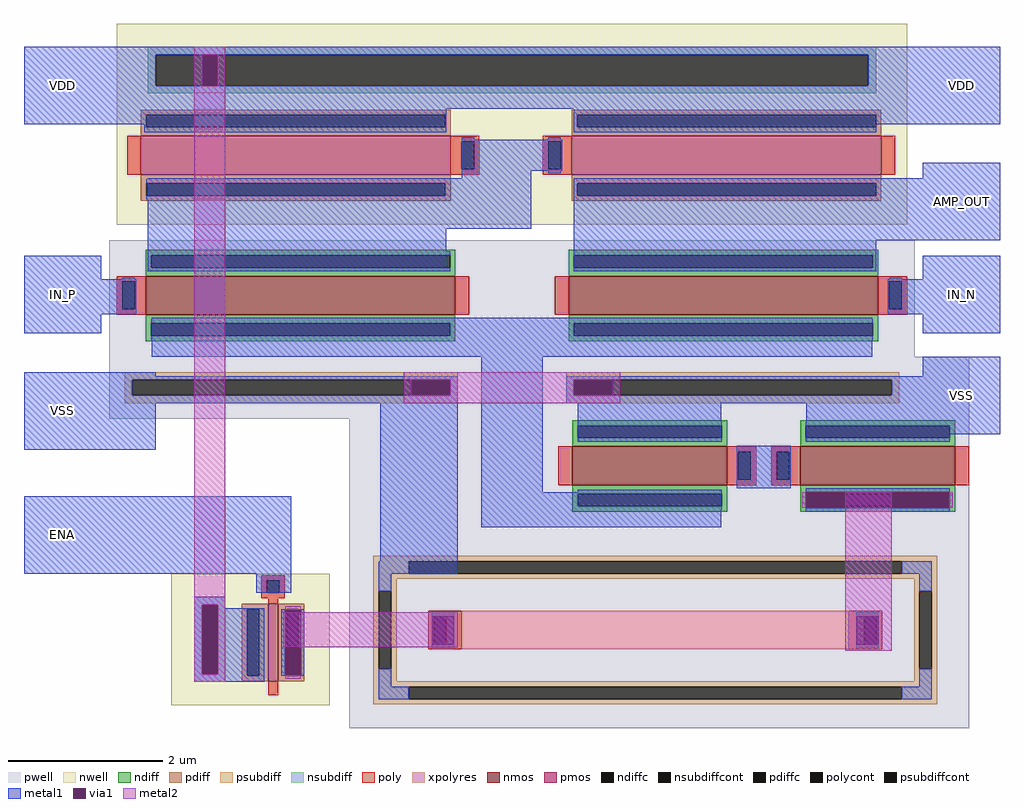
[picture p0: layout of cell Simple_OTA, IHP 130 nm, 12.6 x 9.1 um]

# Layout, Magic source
magic
tech ihp-sg13g2
magscale 1 2
<< nwell >>
rect 1900 -1300 3940 -780
rect 2040 -2540 2450 -2200
<< pwell >>
rect 1880 -1640 3960 -1340
rect 1880 -1800 4100 -1640
rect 2500 -2600 4100 -1800
<< psubdiff >>
rect 1920 -1700 2780 -1680
rect 1920 -1740 1940 -1700
rect 2760 -1740 2780 -1700
rect 1920 -1760 2780 -1740
rect 3060 -1700 3920 -1680
rect 3060 -1740 3080 -1700
rect 3900 -1740 3920 -1700
rect 3060 -1760 3920 -1740
<< nsubdiff >>
rect 1980 -860 3860 -840
rect 1980 -940 2000 -860
rect 3840 -940 3860 -860
rect 1980 -960 3860 -940
rect 2100 -2280 2180 -2260
rect 2100 -2460 2120 -2280
rect 2160 -2460 2180 -2280
rect 2100 -2480 2180 -2460
<< psubdiffcont >>
rect 1940 -1740 2760 -1700
rect 3080 -1740 3900 -1700
<< nsubdiffcont >>
rect 2000 -940 3840 -860
rect 2120 -2460 2160 -2280
<< metal1 >>
rect 1660 -860 4180 -840
rect 1660 -940 2000 -860
rect 3840 -940 4180 -860
rect 1660 -1000 4180 -940
rect 1660 -1040 2750 -1000
rect 1970 -1060 2750 -1040
rect 3080 -1040 4180 -1000
rect 3080 -1060 3860 -1040
rect 2790 -1160 3050 -1080
rect 2790 -1180 2970 -1160
rect 3980 -1180 4180 -1140
rect 1980 -1310 2970 -1180
rect 1660 -1440 1860 -1380
rect 1980 -1420 2750 -1310
rect 3080 -1340 4180 -1180
rect 3080 -1420 3860 -1340
rect 3980 -1440 4180 -1380
rect 1660 -1530 1950 -1440
rect 3890 -1530 4180 -1440
rect 1660 -1580 1860 -1530
rect 1990 -1640 3850 -1540
rect 3980 -1580 4180 -1530
rect 1660 -1690 2000 -1680
rect 1660 -1700 2780 -1690
rect 1660 -1740 1940 -1700
rect 2760 -1740 2780 -1700
rect 1660 -1760 2780 -1740
rect 1660 -1880 2000 -1760
rect 1660 -2200 2350 -2000
rect 2580 -2200 2780 -1760
rect 2840 -1990 3000 -1640
rect 3980 -1690 4180 -1640
rect 3060 -1700 4180 -1690
rect 3060 -1740 3080 -1700
rect 3900 -1740 4180 -1700
rect 3060 -1760 4180 -1740
rect 3090 -1860 3460 -1760
rect 3680 -1840 4180 -1760
rect 3680 -1860 4050 -1840
rect 3500 -1980 3640 -1870
rect 2840 -2080 3460 -1990
rect 2260 -2250 2350 -2200
rect 2100 -2280 2180 -2260
rect 2100 -2460 2120 -2280
rect 2160 -2290 2180 -2280
rect 2160 -2460 2280 -2290
rect 2100 -2480 2280 -2460
<< via1 >>
rect 2120 -940 2160 -860
rect 2660 -1740 2760 -1700
rect 3080 -1740 3180 -1700
rect 2120 -2460 2160 -2280
<< metal2 >>
rect 2100 -860 2180 -840
rect 2100 -940 2120 -860
rect 2160 -940 2180 -860
rect 2100 -2280 2180 -940
rect 2640 -1700 3200 -1680
rect 2640 -1740 2660 -1700
rect 2760 -1740 3080 -1700
rect 3180 -1740 3200 -1700
rect 2640 -1760 3200 -1740
rect 2100 -2460 2120 -2280
rect 2160 -2460 2180 -2280
rect 2330 -2390 2780 -2300
rect 3780 -2400 3900 -1990
rect 2100 -2480 2180 -2460
use sg13_lv_pmos_LRF4C6  sg13_lv_pmos_LRF4C6_0
transform -1 0 2303 0 1 -2359
box -143 -181 143 155
use sg13_lv_nmos_LX2DRS  XM1
transform 0 -1 3845 1 0 -1922
box -118 -255 118 255
use sg13_lv_nmos_23L7VH  XM_IN_N
transform 0 1 3485 -1 0 -1482
box -118 -455 118 455
use sg13_lv_nmos_2HY6VH  XM_IN_P
transform 0 -1 2355 1 0 -1482
box -118 -455 118 455
use sg13_lv_pmos_ZHY45N  XM_LOAD1
transform 0 1 2381 -1 0 -1120
box -180 -481 180 455
use sg13_lv_pmos_Z3L55N  XM_LOAD2
transform 0 -1 3455 1 0 -1120
box -180 -481 180 455
use sg13_lv_nmos_2KL7VH  XM_TAIL1
transform 0 1 3295 -1 0 -1922
box -118 -255 118 255
use rhigh_ASTKTU  XR2
transform 0 -1 3290 1 0 -2346
box -254 -790 254 790
<< labels >>
flabel metal1 3980 -1340 4180 -1140 0 FreeSans 256 0 0 0 AMP_OUT
port 0 nsew
flabel metal1 3980 -1580 4180 -1380 0 FreeSans 256 0 0 0 IN_N
port 3 nsew
flabel metal1 1660 -1580 1860 -1380 0 FreeSans 256 0 0 0 IN_P
port 1 nsew
flabel metal1 1660 -2200 1860 -2000 0 FreeSans 256 0 0 0 ENA
port 5 nsew
flabel metal1 1660 -1040 1860 -840 0 FreeSans 256 0 0 0 VDD
port 2 nsew
flabel metal1 3980 -1040 4180 -840 0 FreeSans 256 0 0 0 VDD
port 2 nsew
flabel metal1 1660 -1880 1860 -1680 0 FreeSans 256 0 0 0 VSS
port 4 nsew
flabel metal1 3980 -1840 4180 -1640 0 FreeSans 256 0 0 0 VSS
port 4 nsew
<< end >>

# cell sg13_lv_pmos_LRF4C6: kit device sg13_lv_pmos, w 1 l 0.13 m 1 nf 1 diffcov 100 polycov 100 guard 0 glc 1 grc 1 gtc 1 gbc 1 tbcov 100 rlcov 100 topc 1 botc 0 poverlap 0 doverlap 1 lmin 0.13 wmin 0.15 class mosfet compatible {sg13_lv_pmos sg13_hv_pmos} full_metal 1 conn_gates 0 gate_ring 0 ccols 1 viasrc 0 viadrn 100 viagate 0 viagb 0 viagr 0 viagl 0 viagt 0 doports 1

# cell sg13_lv_nmos_LX2DRS: kit device sg13_lv_nmos, w 2 l .5 m 1 nf 1 diffcov 100 polycov 100 guard 0 glc 1 grc 1 gtc 1 gbc 1 tbcov 100 rlcov 100 topc 1 botc 0 poverlap 0 doverlap 1 lmin 0.13 wmin 0.15 class mosfet compatible {sg13_lv_nmos sg13_hv_nmos} full_metal 1 conn_gates 0 gate_ring 0 doports 1 viasrc 0 viadrn 100 viagate 0 ccols 1 viagb 0 viagr 0 viagl 0 viagt 0

# cell sg13_lv_nmos_23L7VH: kit device sg13_lv_nmos, w 4 l 0.5 m 1 nf 1 diffcov 100 polycov 100 guard 0 glc 1 grc 1 gtc 1 gbc 1 tbcov 100 rlcov 100 topc 1 botc 0 poverlap 0 doverlap 1 lmin 0.13 wmin 0.15 class mosfet compatible {sg13_lv_nmos sg13_hv_nmos} full_metal 1 conn_gates 0 gate_ring 0 doports 1 viasrc 0 viadrn 0 viagate 0 ccols 1 viagb 0 viagr 0 viagl 0 viagt 0

# cell sg13_lv_nmos_2HY6VH: kit device sg13_lv_nmos, w 4 l .5 m 1 nf 1 diffcov 100 polycov 100 guard 0 glc 1 grc 1 gtc 1 gbc 1 tbcov 100 rlcov 100 topc 1 botc 0 poverlap 0 doverlap 1 lmin 0.13 wmin 0.15 class mosfet compatible {sg13_lv_nmos sg13_hv_nmos} full_metal 1 conn_gates 0 gate_ring 0 doports 1 viasrc 0 viadrn 0 viagate 0 ccols 1 viagb 0 viagr 0 viagl 0 viagt 0

# cell sg13_lv_pmos_ZHY45N: kit device sg13_lv_pmos, w 4 l .5 m 1 nf 1 diffcov 100 polycov 100 guard 0 glc 1 grc 1 gtc 1 gbc 1 tbcov 100 rlcov 100 topc 1 botc 0 poverlap 0 doverlap 1 lmin 0.13 wmin 0.15 class mosfet compatible {sg13_lv_pmos sg13_hv_pmos} full_metal 1 conn_gates 0 gate_ring 0 ccols 1 viasrc 0 viadrn 0 viagate 0 viagb 0 viagr 0 viagl 0 viagt 0 doports 1

# cell sg13_lv_pmos_Z3L55N: kit device sg13_lv_pmos, w 4 l 0.5 m 1 nf 1 diffcov 100 polycov 100 guard 0 glc 1 grc 1 gtc 1 gbc 1 tbcov 100 rlcov 100 topc 1 botc 0 poverlap 0 doverlap 1 lmin 0.13 wmin 0.15 class mosfet compatible {sg13_lv_pmos sg13_hv_pmos} full_metal 1 conn_gates 0 gate_ring 0 ccols 1 viasrc 0 viadrn 0 viagate 0 viagb 0 viagr 0 viagl 0 viagt 0 doports 1

# cell sg13_lv_nmos_2KL7VH: kit device sg13_lv_nmos, w 2 l 0.5 m 1 nf 1 diffcov 100 polycov 100 guard 0 glc 1 grc 1 gtc 1 gbc 1 tbcov 100 rlcov 100 topc 1 botc 0 poverlap 0 doverlap 1 lmin 0.13 wmin 0.15 class mosfet compatible {sg13_lv_nmos sg13_hv_nmos} full_metal 1 conn_gates 0 gate_ring 0 doports 1 viasrc 0 viadrn 0 viagate 0 ccols 1 viagb 0 viagr 0 viagl 0 viagt 0

# cell rhigh_ASTKTU: kit device rhigh, w 0.50 l 5 m 1 nx 1 wmin 0.50 lmin 0.50 class resistor rho 1360 val 13.6k dummy 0 dw 0.0 term 0.0 sterm 0.0 caplen 0 guard 1 glc 1 grc 1 gtc 1 gbc 1 snake 0 full_metal 1 n_guard 0 hv_guard 0 vias 1 viagb 0 viagt 0 viagl 0 viagr 0 doports 1
